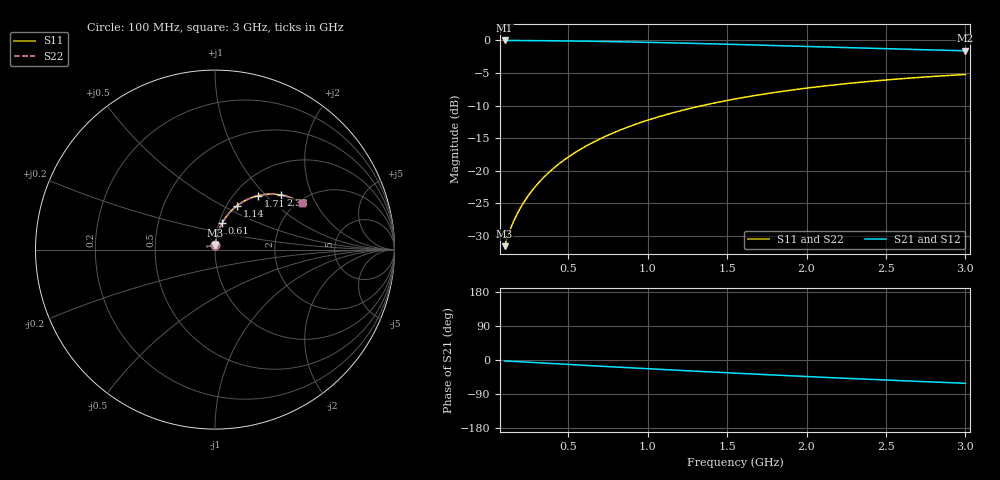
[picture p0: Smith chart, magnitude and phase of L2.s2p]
! Sonnet Data File
! From: sonnet Version : 18.53-Lite
! From Emgraph Data:
! Data File Written: 04/06/2024 10:45:29
!< HDATE 04/06/2024 10:45:02
!< MDATE 04/06/2024 10:45:02
# GHZ S MA R 50.00000
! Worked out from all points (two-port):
!   291 points, 100 MHz to 3 GHz, reference 50 ohm
!   highest |S21| = -0.01 dB at 100 MHz (marker M1); lowest = -1.6 dB at 3 GHz (marker M2)
!   |S21| within 3 dB of the highest: start of sweep to end of sweep
!   lowest |S11| = -31.6 dB at 100 MHz (marker M3), VSWR 1.05, Z = 50.1 + j2.64 ohm
!   |S11| at or under -10 dB: start of sweep to 1.345 GHz
!   |S22| runs from -31.6 to -5.2 dB; largest |S21 - S12| = 2e-13
!   S11 on the Smith chart (normalised r, x): 100 MHz: 1.00, +0.05; 610 MHz: 1.04, +0.32; 1.14 GHz: 1.12, +0.59; 1.71 GHz: 1.27, +0.90; 2.33 GHz: 1.56, +1.23; 3 GHz: 2.09, +1.55
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0.1  0.02637 85.4  0.9986 -2.4  0.9986 -2.4  0.02637 85.4
0.12  0.0315 85.2  0.9984 -2.9  0.9984 -2.9  0.0315 85.2
0.14  0.03663 84.8  0.9981 -3.3  0.9981 -3.3  0.03663 84.9
0.18  0.04685 84.1  0.9975 -4.3  0.9975 -4.3  0.04685 84.1
0.23  0.05958 83.1  0.9967 -5.4  0.9967 -5.4  0.05959 83.1
0.28  0.07226 82.1  0.9957 -6.6  0.9957 -6.6  0.07226 82.1
0.35  0.08989 80.6  0.994 -8.3  0.994 -8.3  0.08989 80.6
0.42  0.1074 79.0  0.9921 -9.9  0.9921 -9.9  0.1074 79.0
0.5  0.1271 77.3  0.9895 -11.7  0.9895 -11.7  0.1271 77.3
0.59  0.1491 75.3  0.9863 -13.8  0.9863 -13.8  0.1491 75.3
0.61  0.1539 74.8  0.9855 -14.3  0.9855 -14.3  0.1539 74.8
0.71  0.1778 72.6  0.9812 -16.5  0.9812 -16.5  0.1778 72.6
0.82  0.2035 70.2  0.9761 -19.0  0.9761 -19.0  0.2035 70.2
1.07  0.2593 64.8  0.9624 -24.6  0.9624 -24.6  0.2593 64.8
1.14  0.2742 63.3  0.9582 -26.1  0.9582 -26.1  0.2742 63.3
1.34  0.3152 59.0  0.9453 -30.4  0.9453 -30.4  0.3152 59.1
1.55  0.3551 54.7  0.9309 -34.7  0.9309 -34.7  0.3551 54.7
1.71  0.3835 51.5  0.9195 -38.0  0.9195 -38.0  0.3835 51.5
2.04  0.4362 45.1  0.8956 -44.4  0.8956 -44.4  0.4362 45.1
2.33  0.4762 39.7  0.8749 -49.8  0.8749 -49.8  0.4762 39.8
2.52  0.4993 36.4  0.8619 -53.2  0.8619 -53.2  0.4993 36.4
3  0.5477 28.2  0.8319 -61.5  0.8319 -61.5  0.5477 28.2
